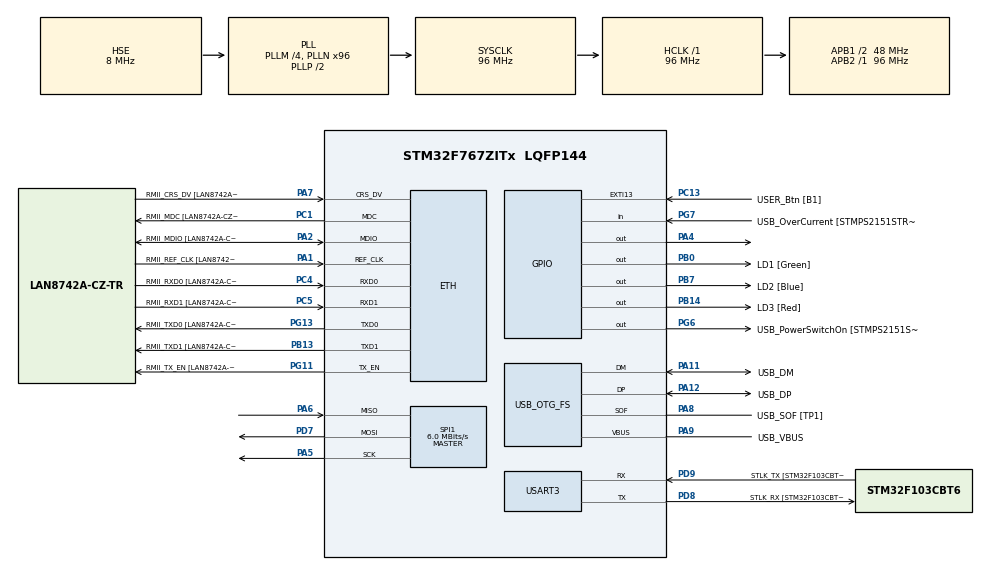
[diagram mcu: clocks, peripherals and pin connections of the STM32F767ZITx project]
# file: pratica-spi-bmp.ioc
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CORTEX_M7.default_mode_Activation=1
ETH.MediaInterface=HAL_ETH_RMII_MODE
ETH.PHY_Name=LAN8742A_PHY_ADDRESS
ETH.PHY_Value=0
ETH.PhyAddress=0
Mcu.Family=STM32F7
Mcu.Name=STM32F767ZITx
Mcu.Package=LQFP144
NVIC.PriorityGroup=NVIC_PRIORITYGROUP_4
PA1.GPIO_Label=RMII_REF_CLK [LAN8742A-CZ-TR_REFCLK0]
PA1.Mode=RMII
PA1.Signal=ETH_REF_CLK
PA10.GPIO_Label=USB_ID
PA10.Signal=USB_OTG_FS_ID
PA11.GPIO_Label=USB_DM
PA11.Mode=Device_Only
PA11.Signal=USB_OTG_FS_DM
PA12.GPIO_Label=USB_DP
PA12.Mode=Device_Only
PA12.Signal=USB_OTG_FS_DP
PA13.GPIO_Label=TMS
PA13.Mode=Serial_Wire
PA13.Signal=SYS_JTMS-SWDIO
PA14.GPIO_Label=TCK
PA14.Mode=Serial_Wire
PA14.Signal=SYS_JTCK-SWCLK
PA2.GPIO_Label=RMII_MDIO [LAN8742A-CZ-TR_MDIO]
PA2.Mode=RMII
PA2.Signal=ETH_MDIO
PA4.GPIO_PuPd=GPIO_PULLUP
PA4.GPIO_Speed=GPIO_SPEED_FREQ_VERY_HIGH
PA4.PinState=GPIO_PIN_SET
PA4.Signal=GPIO_Output
PA5.Mode=Full_Duplex_Master
PA5.Signal=SPI1_SCK
PA6.Mode=Full_Duplex_Master
PA6.Signal=SPI1_MISO
PA7.GPIO_Label=RMII_CRS_DV [LAN8742A-CZ-TR_CRS_DV]
PA7.Mode=RMII
PA7.Signal=ETH_CRS_DV
PA8.GPIO_Label=USB_SOF [TP1]
PA8.Mode=Activate_SOF_FS
PA8.Signal=USB_OTG_FS_SOF
PA9.GPIO_Label=USB_VBUS
PA9.Mode=Activate_VBUS
PA9.Signal=USB_OTG_FS_VBUS
PB0.GPIO_Label=LD1 [Green]
PB0.Signal=GPIO_Output
PB13.GPIO_Label=RMII_TXD1 [LAN8742A-CZ-TR_TXD1]
PB13.Mode=RMII
PB13.Signal=ETH_TXD1
PB14.GPIO_Label=LD3 [Red]
PB14.Signal=GPIO_Output
PB3.GPIO_Label=SWO
PB3.Signal=SYS_JTDO-SWO
PB7.GPIO_Label=LD2 [Blue]
PB7.Signal=GPIO_Output
PC1.GPIO_Label=RMII_MDC [LAN8742A-CZ-TR_MDC]
PC1.Mode=RMII
PC1.Signal=ETH_MDC
PC13.GPIO_Label=USER_Btn [B1]
PC13.Signal=GPXTI13
PC14/OSC32_IN.Mode=LSE-External-Oscillator
PC14/OSC32_IN.Signal=RCC_OSC32_IN
PC15/OSC32_OUT.Mode=LSE-External-Oscillator
PC15/OSC32_OUT.Signal=RCC_OSC32_OUT
PC4.GPIO_Label=RMII_RXD0 [LAN8742A-CZ-TR_RXD0]
PC4.Mode=RMII
PC4.Signal=ETH_RXD0
PC5.GPIO_Label=RMII_RXD1 [LAN8742A-CZ-TR_RXD1]
PC5.Mode=RMII
PC5.Signal=ETH_RXD1
PD7.Mode=Full_Duplex_Master
PD7.Signal=SPI1_MOSI
PD8.GPIO_Label=STLK_RX [STM32F103CBT6_PA3]
PD8.Mode=Asynchronous
PD8.Signal=USART3_TX
PD9.GPIO_Label=STLK_TX [STM32F103CBT6_PA2]
PD9.Mode=Asynchronous
PD9.Signal=USART3_RX
PG11.GPIO_Label=RMII_TX_EN [LAN8742A-CZ-TR_TXEN]
PG11.Mode=RMII
PG11.Signal=ETH_TX_EN
PG13.GPIO_Label=RMII_TXD0 [LAN8742A-CZ-TR_TXD0]
PG13.Mode=RMII
PG13.Signal=ETH_TXD0
PG6.GPIO_Label=USB_PowerSwitchOn [STMPS2151STR_EN]
PG6.Signal=GPIO_Output
PG7.GPIO_Label=USB_OverCurrent [STMPS2151STR_FAULT]
PG7.Signal=GPIO_Input
PH0/OSC_IN.GPIO_Label=MCO [STM32F103CBT6_PA8]
PH0/OSC_IN.Mode=HSE-External-Clock-Source
PH0/OSC_IN.Signal=RCC_OSC_IN
PH1/OSC_OUT.Mode=HSE-External-Clock-Source
PH1/OSC_OUT.Signal=RCC_OSC_OUT
ProjectManager.HeapSize=0x200
ProjectManager.StackSize=0x400
ProjectManager.TargetToolchain=STM32CubeIDE
RCC.48MHZClocksFreq_Value=24000000
RCC.AHBFreq_Value=96000000
RCC.APB1CLKDivider=RCC_HCLK_DIV2
RCC.APB1Freq_Value=48000000
RCC.APB1TimFreq_Value=96000000
RCC.APB2Freq_Value=96000000
RCC.APB2TimFreq_Value=96000000
RCC.CortexFreq_Value=96000000
RCC.HCLKFreq_Value=96000000
RCC.HSE_VALUE=8000000
RCC.HSI_VALUE=16000000
RCC.PLLM=4
RCC.PLLMUL=RCC_PLL_MUL9
RCC.PLLN=96
RCC.PLLQ=4
RCC.PRESCALERUSB=RCC_USBCLKSOURCE_PLL_DIV1_5
RCC.SYSCLKFreq_VALUE=96000000
RCC.SYSCLKSource=RCC_SYSCLKSOURCE_PLLCLK
RCC.SYSCLKSourceVirtual=RCC_SYSCLKSOURCE_PLLCLK
RCC.USBFreq_Value=48000000
RCC.VCOOutputFreq_Value=192000000
SPI1.BaudRatePrescaler=SPI_BAUDRATEPRESCALER_16
SPI1.CLKPhase=SPI_PHASE_2EDGE
SPI1.CLKPolarity=SPI_POLARITY_HIGH
SPI1.CalculateBaudRate=6.0 MBits/s
SPI1.DataSize=SPI_DATASIZE_8BIT
SPI1.Direction=SPI_DIRECTION_2LINES
SPI1.Mode=SPI_MODE_MASTER
SPI1.VirtualType=VM_MASTER
USART3.VirtualMode-Asynchronous=VM_ASYNC
USB_OTG_FS.VirtualMode=Device_Only
board=NUCLEO-F767ZI

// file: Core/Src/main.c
/* USER CODE BEGIN Header */
/**
  ******************************************************************************
  * @file           : main.c
  * @brief          : Main program body
  ******************************************************************************
  * @attention
  *
  * Copyright (c) 2026 STMicroelectronics.
  * All rights reserved.
  *
  * This software is licensed under terms that can be found in the LICENSE file
  * in the root directory of this software component.
  * If no LICENSE file comes with this software, it is provided AS-IS.
  *
  ******************************************************************************
  */
/* USER CODE END Header */
#include "main.h"
#include "string.h"

/* USER CODE BEGIN Includes */
#include "bmp280.h"
#include <stdio.h>
/* USER CODE END Includes */

#if defined ( __ICCARM__ ) /*!< IAR Compiler */
#pragma location=0x2007c000
ETH_DMADescTypeDef  DMARxDscrTab[ETH_RX_DESC_CNT]; /* Ethernet Rx DMA Descriptors */
#pragma location=0x2007c0a0
ETH_DMADescTypeDef  DMATxDscrTab[ETH_TX_DESC_CNT]; /* Ethernet Tx DMA Descriptors */

#elif defined ( __CC_ARM )  /* MDK ARM Compiler */

__attribute__((at(0x2007c000))) ETH_DMADescTypeDef  DMARxDscrTab[ETH_RX_DESC_CNT]; /* Ethernet Rx DMA Descriptors */
__attribute__((at(0x2007c0a0))) ETH_DMADescTypeDef  DMATxDscrTab[ETH_TX_DESC_CNT]; /* Ethernet Tx DMA Descriptors */

#elif defined ( __GNUC__ ) /* GNU Compiler */

ETH_DMADescTypeDef DMARxDscrTab[ETH_RX_DESC_CNT] __attribute__((section(".RxDecripSection"))); /* Ethernet Rx DMA Descriptors */
ETH_DMADescTypeDef DMATxDscrTab[ETH_TX_DESC_CNT] __attribute__((section(".TxDecripSection")));   /* Ethernet Tx DMA Descriptors */
#endif

ETH_TxPacketConfig TxConfig;

ETH_HandleTypeDef heth;

SPI_HandleTypeDef hspi1;

UART_HandleTypeDef huart3;

PCD_HandleTypeDef hpcd_USB_OTG_FS;

void SystemClock_Config(void);
static void MPU_Config(void);
static void MX_GPIO_Init(void);
static void MX_ETH_Init(void);
static void MX_SPI1_Init(void);
static void MX_USART3_UART_Init(void);
static void MX_USB_OTG_FS_PCD_Init(void);

int main(void)
{

  /* MPU Configuration--------------------------------------------------------*/
  MPU_Config();

  /* MCU Configuration--------------------------------------------------------*/

  /* Reset of all peripherals, Initializes the Flash interface and the Systick. */
  HAL_Init();

  /* Configure the system clock */
  SystemClock_Config();

  /* Initialize all configured peripherals */
  MX_GPIO_Init();
  MX_ETH_Init();
  MX_SPI1_Init();
  MX_USART3_UART_Init();
  MX_USB_OTG_FS_PCD_Init();
  /* USER CODE BEGIN 2 */
  BMP280_Handle bmp;
  if (!bmp280_init(&bmp, &hspi1, GPIOA, GPIO_PIN_4))
  {
    printf("[ERRO] Falha ao inicializar o BMP280 via SPI1!\r\n");
    printf("Verifique as ligacoes: PA5(SCK), PA6(SDO/MISO), PD7(SDI/MOSI), PA4(CSB)\r\n");
    while (1)
    {
      HAL_GPIO_TogglePin(GPIOB, LD3_Pin); // Pisca LED Vermelho
      HAL_Delay(250);
    }
  }

  printf("[OK] BMP280 inicializado com sucesso!\r\n\r\n");
  /* USER CODE END 2 */

  /* Infinite loop */
  /* USER CODE BEGIN WHILE */
  while (1)
  {
    float temp_c = 0.0f;
    float press_hpa = 0.0f;
    float altitude_m = 0.0f;

    if (bmp280_read_measurements(&bmp, &temp_c, &press_hpa, &altitude_m))
    {
      int32_t temp_int = (int32_t)temp_c;
      int32_t temp_dec = (int32_t)((temp_c >= 0 ? (temp_c - temp_int) : (temp_int - temp_c)) * 100.0f);

      int32_t press_int = (int32_t)press_hpa;
      int32_t press_dec = (int32_t)((press_hpa - press_int) * 100.0f);

      int32_t alt_int = (int32_t)altitude_m;
      int32_t alt_dec = (int32_t)((altitude_m >= 0 ? (altitude_m - alt_int) : (alt_int - altitude_m)) * 100.0f);

      printf("T: %ld.%01ld C | Press: %ld.%02ld hPa | Alt: %ld.%02ld m\r\n",
             (long)temp_int, (long)temp_dec,
             (long)press_int, (long)press_dec,
             (long)alt_int, (long)alt_dec);

      HAL_GPIO_TogglePin(GPIOB, LD2_Pin); // Pisca LED Azul (PB7), sem interferir com PA5/SCK
    }
    else
    {
      printf("[AVISO] Falha ao ler dados do BMP280!\r\n");
    }

    HAL_Delay(1000);
    /* USER CODE END WHILE */

  }
}

void SystemClock_Config(void)
{
  RCC_OscInitTypeDef RCC_OscInitStruct = {0};
  RCC_ClkInitTypeDef RCC_ClkInitStruct = {0};

  /** Configure LSE Drive Capability
  */
  HAL_PWR_EnableBkUpAccess();

  /** Configure the main internal regulator output voltage
  */
  __HAL_RCC_PWR_CLK_ENABLE();
  __HAL_PWR_VOLTAGESCALING_CONFIG(PWR_REGULATOR_VOLTAGE_SCALE3);

  /** Initializes the RCC Oscillators according to the specified parameters
  * in the RCC_OscInitTypeDef structure.
  */
  RCC_OscInitStruct.OscillatorType = RCC_OSCILLATORTYPE_HSE;
  RCC_OscInitStruct.HSEState = RCC_HSE_BYPASS;
  RCC_OscInitStruct.PLL.PLLState = RCC_PLL_ON;
  RCC_OscInitStruct.PLL.PLLSource = RCC_PLLSOURCE_HSE;
  RCC_OscInitStruct.PLL.PLLM = 4;
  RCC_OscInitStruct.PLL.PLLN = 96;
  RCC_OscInitStruct.PLL.PLLP = RCC_PLLP_DIV2;
  RCC_OscInitStruct.PLL.PLLQ = 4;
  RCC_OscInitStruct.PLL.PLLR = 2;
  if (HAL_RCC_OscConfig(&RCC_OscInitStruct) != HAL_OK)
  {
    Error_Handler();
  }

  /** Activate the Over-Drive mode
  */
  if (HAL_PWREx_EnableOverDrive() != HAL_OK)
  {
    Error_Handler();
  }

  /** Initializes the CPU, AHB and APB buses clocks
  */
  RCC_ClkInitStruct.ClockType = RCC_CLOCKTYPE_HCLK|RCC_CLOCKTYPE_SYSCLK
                              |RCC_CLOCKTYPE_PCLK1|RCC_CLOCKTYPE_PCLK2;
  RCC_ClkInitStruct.SYSCLKSource = RCC_SYSCLKSOURCE_PLLCLK;
  RCC_ClkInitStruct.AHBCLKDivider = RCC_SYSCLK_DIV1;
  RCC_ClkInitStruct.APB1CLKDivider = RCC_HCLK_DIV2;
  RCC_ClkInitStruct.APB2CLKDivider = RCC_HCLK_DIV1;

  if (HAL_RCC_ClockConfig(&RCC_ClkInitStruct, FLASH_LATENCY_3) != HAL_OK)
  {
    Error_Handler();
  }
}

static void MX_ETH_Init(void)
{

   static uint8_t MACAddr[6];

  heth.Instance = ETH;
  MACAddr[0] = 0x00;
  MACAddr[1] = 0x80;
  MACAddr[2] = 0xE1;
  MACAddr[3] = 0x00;
  MACAddr[4] = 0x00;
  MACAddr[5] = 0x00;
  heth.Init.MACAddr = &MACAddr[0];
  heth.Init.MediaInterface = HAL_ETH_RMII_MODE;
  heth.Init.TxDesc = DMATxDscrTab;
  heth.Init.RxDesc = DMARxDscrTab;
  heth.Init.RxBuffLen = 1524;

  if (HAL_ETH_Init(&heth) != HAL_OK)
  {
    Error_Handler();
  }

  memset(&TxConfig, 0 , sizeof(ETH_TxPacketConfig));
  TxConfig.Attributes = ETH_TX_PACKETS_FEATURES_CSUM | ETH_TX_PACKETS_FEATURES_CRCPAD;
  TxConfig.ChecksumCtrl = ETH_CHECKSUM_IPHDR_PAYLOAD_INSERT_PHDR_CALC;
  TxConfig.CRCPadCtrl = ETH_CRC_PAD_INSERT;

}

static void MX_SPI1_Init(void)
{

  /* SPI1 parameter configuration*/
  hspi1.Instance = SPI1;
  hspi1.Init.Mode = SPI_MODE_MASTER;
  hspi1.Init.Direction = SPI_DIRECTION_2LINES;
  hspi1.Init.DataSize = SPI_DATASIZE_8BIT;
  hspi1.Init.CLKPolarity = SPI_POLARITY_HIGH;
  hspi1.Init.CLKPhase = SPI_PHASE_2EDGE;
  hspi1.Init.NSS = SPI_NSS_SOFT;
  hspi1.Init.BaudRatePrescaler = SPI_BAUDRATEPRESCALER_16;
  hspi1.Init.FirstBit = SPI_FIRSTBIT_MSB;
  hspi1.Init.TIMode = SPI_TIMODE_DISABLE;
  hspi1.Init.CRCCalculation = SPI_CRCCALCULATION_DISABLE;
  hspi1.Init.CRCPolynomial = 7;
  hspi1.Init.CRCLength = SPI_CRC_LENGTH_DATASIZE;
  hspi1.Init.NSSPMode = SPI_NSS_PULSE_DISABLE;
  if (HAL_SPI_Init(&hspi1) != HAL_OK)
  {
    Error_Handler();
  }

}

static void MX_USART3_UART_Init(void)
{

  huart3.Instance = USART3;
  huart3.Init.BaudRate = 115200;
  huart3.Init.WordLength = UART_WORDLENGTH_8B;
  huart3.Init.StopBits = UART_STOPBITS_1;
  huart3.Init.Parity = UART_PARITY_NONE;
  huart3.Init.Mode = UART_MODE_TX_RX;
  huart3.Init.HwFlowCtl = UART_HWCONTROL_NONE;
  huart3.Init.OverSampling = UART_OVERSAMPLING_16;
  huart3.Init.OneBitSampling = UART_ONE_BIT_SAMPLE_DISABLE;
  huart3.AdvancedInit.AdvFeatureInit = UART_ADVFEATURE_NO_INIT;
  if (HAL_UART_Init(&huart3) != HAL_OK)
  {
    Error_Handler();
  }

}

static void MX_USB_OTG_FS_PCD_Init(void)
{

  hpcd_USB_OTG_FS.Instance = USB_OTG_FS;
  hpcd_USB_OTG_FS.Init.dev_endpoints = 6;
  hpcd_USB_OTG_FS.Init.speed = PCD_SPEED_FULL;
  hpcd_USB_OTG_FS.Init.dma_enable = DISABLE;
  hpcd_USB_OTG_FS.Init.phy_itface = PCD_PHY_EMBEDDED;
  hpcd_USB_OTG_FS.Init.Sof_enable = ENABLE;
  hpcd_USB_OTG_FS.Init.low_power_enable = DISABLE;
  hpcd_USB_OTG_FS.Init.lpm_enable = DISABLE;
  hpcd_USB_OTG_FS.Init.vbus_sensing_enable = ENABLE;
  hpcd_USB_OTG_FS.Init.use_dedicated_ep1 = DISABLE;
  if (HAL_PCD_Init(&hpcd_USB_OTG_FS) != HAL_OK)
  {
    Error_Handler();
  }

}

static void MX_GPIO_Init(void)
{
  GPIO_InitTypeDef GPIO_InitStruct = {0};

  /* GPIO Ports Clock Enable */
  __HAL_RCC_GPIOC_CLK_ENABLE();
  __HAL_RCC_GPIOH_CLK_ENABLE();
  __HAL_RCC_GPIOA_CLK_ENABLE();
  __HAL_RCC_GPIOB_CLK_ENABLE();
  __HAL_RCC_GPIOD_CLK_ENABLE();
  __HAL_RCC_GPIOG_CLK_ENABLE();

  /*Configure GPIO pin Output Level */
  HAL_GPIO_WritePin(GPIOB, LD1_Pin|LD3_Pin|LD2_Pin, GPIO_PIN_RESET);

  /*Configure GPIO pin Output Level */
  HAL_GPIO_WritePin(USB_PowerSwitchOn_GPIO_Port, USB_PowerSwitchOn_Pin, GPIO_PIN_RESET);

  /*Configure GPIO pin : USER_Btn_Pin */
  GPIO_InitStruct.Pin = USER_Btn_Pin;
  GPIO_InitStruct.Mode = GPIO_MODE_IT_RISING;
  GPIO_InitStruct.Pull = GPIO_NOPULL;
  HAL_GPIO_Init(USER_Btn_GPIO_Port, &GPIO_InitStruct);

  /*Configure GPIO pins : LD1_Pin LD3_Pin LD2_Pin */
  GPIO_InitStruct.Pin = LD1_Pin|LD3_Pin|LD2_Pin;
  GPIO_InitStruct.Mode = GPIO_MODE_OUTPUT_PP;
  GPIO_InitStruct.Pull = GPIO_NOPULL;
  GPIO_InitStruct.Speed = GPIO_SPEED_FREQ_LOW;
  HAL_GPIO_Init(GPIOB, &GPIO_InitStruct);

  /*Configure GPIO pin : USB_PowerSwitchOn_Pin */
  GPIO_InitStruct.Pin = USB_PowerSwitchOn_Pin;
  GPIO_InitStruct.Mode = GPIO_MODE_OUTPUT_PP;
  GPIO_InitStruct.Pull = GPIO_NOPULL;
  GPIO_InitStruct.Speed = GPIO_SPEED_FREQ_LOW;
  HAL_GPIO_Init(USB_PowerSwitchOn_GPIO_Port, &GPIO_InitStruct);

  /*Configure GPIO pin : USB_OverCurrent_Pin */
  GPIO_InitStruct.Pin = USB_OverCurrent_Pin;
  GPIO_InitStruct.Mode = GPIO_MODE_INPUT;
  GPIO_InitStruct.Pull = GPIO_NOPULL;
  HAL_GPIO_Init(USB_OverCurrent_GPIO_Port, &GPIO_InitStruct);

  /* USER CODE BEGIN MX_GPIO_Init_2 */
  /* Configure GPIO pin Output Level for CS (PA4) -> HIGH (inactive) */
  HAL_GPIO_WritePin(GPIOA, GPIO_PIN_4, GPIO_PIN_SET);

  /* Configure GPIO pin : PA4 as BMP280 CS */
  GPIO_InitStruct.Pin = GPIO_PIN_4;
  GPIO_InitStruct.Mode = GPIO_MODE_OUTPUT_PP;
  GPIO_InitStruct.Pull = GPIO_NOPULL;
  GPIO_InitStruct.Speed = GPIO_SPEED_FREQ_VERY_HIGH;
  HAL_GPIO_Init(GPIOA, &GPIO_InitStruct);
  /* USER CODE END MX_GPIO_Init_2 */
}

/* USER CODE BEGIN 4 */
int __io_putchar(int ch)
{
  HAL_UART_Transmit(&huart3, (uint8_t *)&ch, 1, HAL_MAX_DELAY);
  return ch;
}
/* USER CODE END 4 */

 /* MPU Configuration */

void MPU_Config(void)
{
  MPU_Region_InitTypeDef MPU_InitStruct = {0};

  /* Disables the MPU */
  HAL_MPU_Disable();

  /** Initializes and configures the Region and the memory to be protected
  */
  MPU_InitStruct.Enable = MPU_REGION_ENABLE;
  MPU_InitStruct.Number = MPU_REGION_NUMBER0;
  MPU_InitStruct.BaseAddress = 0x0;
  MPU_InitStruct.Size = MPU_REGION_SIZE_4GB;
  MPU_InitStruct.SubRegionDisable = 0x87;
  MPU_InitStruct.TypeExtField = MPU_TEX_LEVEL0;
  MPU_InitStruct.AccessPermission = MPU_REGION_NO_ACCESS;
  MPU_InitStruct.DisableExec = MPU_INSTRUCTION_ACCESS_DISABLE;
  MPU_InitStruct.IsShareable = MPU_ACCESS_SHAREABLE;
  MPU_InitStruct.IsCacheable = MPU_ACCESS_NOT_CACHEABLE;
  MPU_InitStruct.IsBufferable = MPU_ACCESS_NOT_BUFFERABLE;

  HAL_MPU_ConfigRegion(&MPU_InitStruct);
  /* Enables the MPU */
  HAL_MPU_Enable(MPU_PRIVILEGED_DEFAULT);

}

void Error_Handler(void)
{
  __disable_irq();
  while (1)
  {
  }
}
